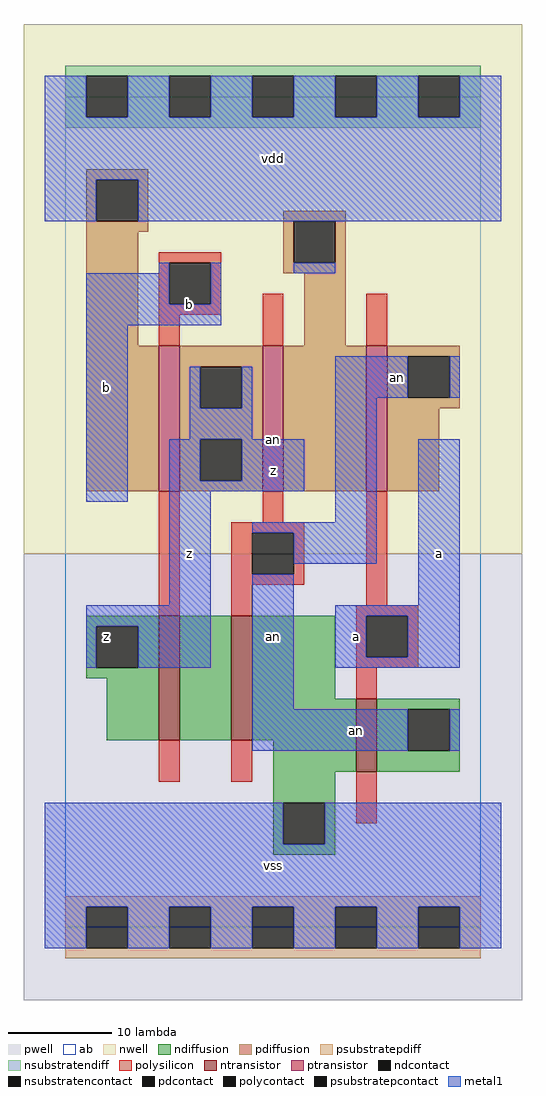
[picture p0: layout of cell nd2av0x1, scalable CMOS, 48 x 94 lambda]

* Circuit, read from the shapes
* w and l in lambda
.subckt nd2av0x1 a an b vdd vss z
M1 n1 b z vss nfet w=12 l=2
M2 vss an n1 vss nfet w=12 l=2
M3 an a vss vss nfet w=7 l=2
M4 z b vdd vdd pfet w=14 l=2
M5 vdd an z vdd pfet w=14 l=2
M6 an a vdd vdd pfet w=14 l=2
.ends

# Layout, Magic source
magic
tech scmos
<< ab >>
rect 0 0 40 80
<< pwell >>
rect -4 -7 44 36
<< nwell >>
rect -4 36 44 87
<< polysilicon >>
rect 9 64 15 65
rect 9 60 10 64
rect 14 60 15 64
rect 9 59 15 60
rect 9 56 11 59
rect 19 56 21 61
rect 29 56 31 61
rect 9 30 11 42
rect 19 39 21 42
rect 16 38 23 39
rect 16 34 18 38
rect 22 34 23 38
rect 16 33 23 34
rect 16 30 18 33
rect 29 31 31 42
rect 28 30 34 31
rect 28 26 29 30
rect 33 26 34 30
rect 28 25 34 26
rect 28 22 30 25
rect 9 14 11 18
rect 16 14 18 18
rect 28 10 30 15
<< ndiffusion >>
rect 2 29 9 30
rect 2 25 3 29
rect 7 25 9 29
rect 2 24 9 25
rect 4 18 9 24
rect 11 18 16 30
rect 18 22 26 30
rect 18 18 28 22
rect 20 15 28 18
rect 30 21 38 22
rect 30 17 33 21
rect 37 17 38 21
rect 30 15 38 17
rect 20 12 26 15
rect 20 8 21 12
rect 25 8 26 12
rect 20 7 26 8
<< pdiffusion >>
rect 2 72 8 73
rect 2 68 3 72
rect 7 68 8 72
rect 2 67 8 68
rect 21 68 27 69
rect 2 56 7 67
rect 21 64 22 68
rect 26 64 27 68
rect 21 63 27 64
rect 23 56 27 63
rect 2 42 9 56
rect 11 54 19 56
rect 11 50 13 54
rect 17 50 19 54
rect 11 47 19 50
rect 11 43 13 47
rect 17 43 19 47
rect 11 42 19 43
rect 21 42 29 56
rect 31 55 38 56
rect 31 51 33 55
rect 37 51 38 55
rect 31 50 38 51
rect 31 42 36 50
<< metal1 >>
rect -2 78 2 82
rect 6 78 10 82
rect 14 78 18 82
rect 22 78 26 82
rect 30 78 34 82
rect 38 78 42 82
rect -2 72 42 78
rect -2 68 3 72
rect 7 68 42 72
rect 9 63 10 64
rect 2 60 10 63
rect 14 60 15 64
rect 22 63 26 64
rect 2 58 15 60
rect 2 41 6 58
rect 12 50 13 54
rect 17 50 18 54
rect 12 47 18 50
rect 26 51 33 55
rect 37 51 38 55
rect 10 43 13 47
rect 17 43 23 47
rect 10 42 23 43
rect 10 31 14 42
rect 26 39 30 51
rect 2 29 14 31
rect 2 25 3 29
rect 7 25 14 29
rect 18 38 30 39
rect 22 35 30 38
rect 18 21 22 34
rect 34 31 38 47
rect 26 30 38 31
rect 26 26 29 30
rect 33 26 38 30
rect 26 25 38 26
rect 18 17 33 21
rect 37 17 38 21
rect -2 8 21 12
rect 25 8 42 12
rect -2 2 42 8
rect -2 -2 2 2
rect 6 -2 10 2
rect 14 -2 18 2
rect 22 -2 26 2
rect 30 -2 34 2
rect 38 -2 42 2
<< ntransistor >>
rect 9 18 11 30
rect 16 18 18 30
rect 28 15 30 22
<< ptransistor >>
rect 9 42 11 56
rect 19 42 21 56
rect 29 42 31 56
<< polycontact >>
rect 10 60 14 64
rect 18 34 22 38
rect 29 26 33 30
<< ndcontact >>
rect 3 25 7 29
rect 33 17 37 21
rect 21 8 25 12
<< pdcontact >>
rect 3 68 7 72
rect 22 64 26 68
rect 13 50 17 54
rect 13 43 17 47
rect 33 51 37 55
<< psubstratepcontact >>
rect 2 -2 6 2
rect 10 -2 14 2
rect 18 -2 22 2
rect 26 -2 30 2
rect 34 -2 38 2
<< nsubstratencontact >>
rect 2 78 6 82
rect 10 78 14 82
rect 18 78 22 82
rect 26 78 30 82
rect 34 78 38 82
<< psubstratepdiff >>
rect 0 2 40 3
rect 0 -2 2 2
rect 6 -2 10 2
rect 14 -2 18 2
rect 22 -2 26 2
rect 30 -2 34 2
rect 38 -2 40 2
rect 0 -3 40 -2
<< nsubstratendiff >>
rect 0 82 40 83
rect 0 78 2 82
rect 6 78 10 82
rect 14 78 18 82
rect 22 78 26 82
rect 30 78 34 82
rect 38 78 40 82
rect 0 77 40 78
<< labels >>
rlabel ptransistor 20 47 20 47 6 an
rlabel ndcontact 4 28 4 28 6 z
rlabel metal1 4 52 4 52 6 b
rlabel metal1 12 36 12 36 6 z
rlabel metal1 12 60 12 60 6 b
rlabel metal1 20 6 20 6 6 vss
rlabel metal1 20 28 20 28 6 an
rlabel metal1 28 28 28 28 6 a
rlabel metal1 20 44 20 44 6 z
rlabel metal1 20 74 20 74 6 vdd
rlabel metal1 28 19 28 19 6 an
rlabel metal1 36 36 36 36 6 a
rlabel metal1 32 53 32 53 6 an
<< end >>
